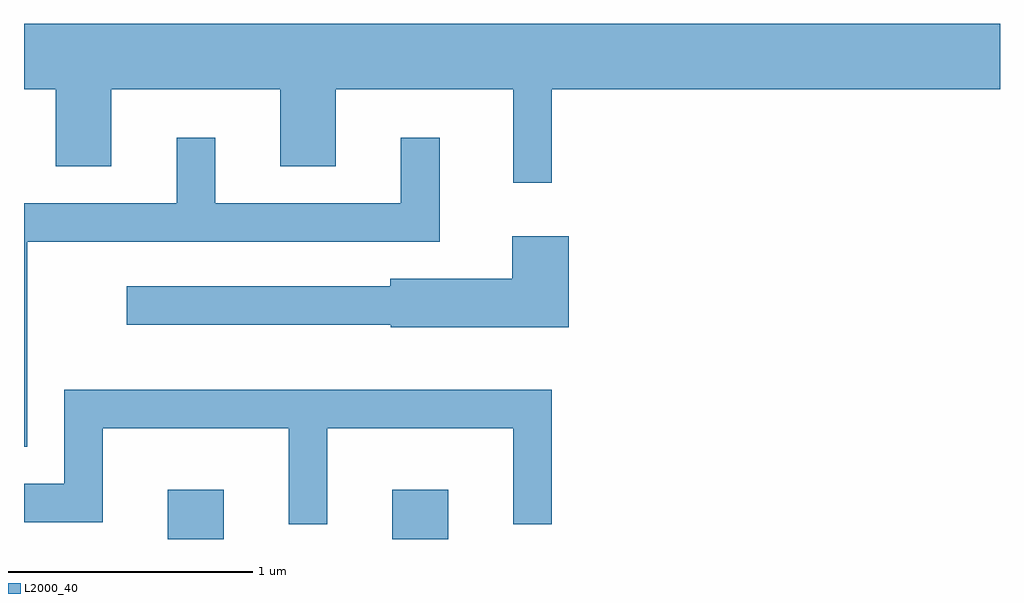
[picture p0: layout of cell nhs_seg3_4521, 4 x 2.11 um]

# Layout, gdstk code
import gdstk
lib = gdstk.Library(unit=1e-6, precision=1e-09)
def R(c, l, rs):  # rectangles x0, y0, x1, y1
    for r in rs: c.add(gdstk.rectangle(r[:2], r[2:], *l))
def P(c, l, *ps):  # polygons
    for p in ps: c.add(gdstk.Polygon(p, *l))
L2000_40 = (2000, 40)

nhs_seg3_4521 = lib.new_cell('nhs_seg3_4521')
R(nhs_seg3_4521, L2000_40, [(318.201,1181.892,318.429,1182.094), (319.121,1181.892,319.349,1182.094)])
P(nhs_seg3_4521, L2000_40, [(319.774,1183.736),(321.611,1183.736),(321.611,1184.004),(317.611,1184.004),(317.611,1183.736),(317.741,1183.736),(317.741,1183.421),(317.969,1183.421),(317.969,1183.736),(318.661,1183.736),(318.661,1183.421),(318.889,1183.421),(318.889,1183.736),(319.616,1183.736),(319.616,1183.353),(319.774,1183.353)],
  [(317.624,1183.111),(319.314,1183.111),(319.314,1183.538),(319.156,1183.538),(319.156,1183.269),(318.394,1183.269),(318.394,1183.538),(318.236,1183.538),(318.236,1183.269),(317.611,1183.269),(317.611,1182.271),(317.624,1182.271)],
  [(319.844,1183.134),(319.611,1183.134),(319.611,1182.959),(319.111,1182.959),(319.111,1182.929),(318.033,1182.929),(318.033,1182.771),(319.115,1182.771),(319.115,1182.761),(319.844,1182.761)],
  [(318.854,1182.346),(319.616,1182.346),(319.616,1181.953),(319.774,1181.953),(319.774,1182.504),(317.776,1182.504),(317.776,1182.119),(317.611,1182.119),(317.611,1181.961),(317.934,1181.961),(317.934,1182.346),(318.696,1182.346),(318.696,1181.953),(318.854,1181.953)])

lib.write_gds('nhs_seg3_4521.gds')
